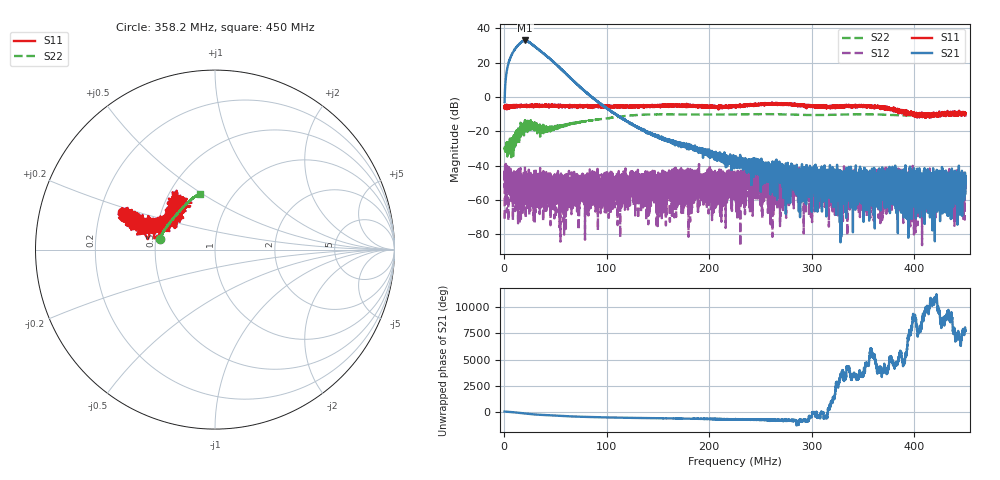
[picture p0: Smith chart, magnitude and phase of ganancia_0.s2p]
# Hz S DB R 50
! CMT, M5065, 19127446, 24.2.4/2
! Date: 12/3/2024 4:14:07 PM
! Data: Format (Calibration Info)
! Freq	S11:dB/Ang(F2)	S21:dB/Ang(F2)	S12:dB/Ang(F2)	S22:dB/Ang(F2)
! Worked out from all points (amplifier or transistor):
!   9000 points, 300 kHz to 450 MHz, reference 50 ohm
!   highest |S21| = 33.0 dB at 20.34 MHz (marker M1)
!   |S21| within 3 dB of that: 13.19 MHz to 28.53 MHz (15.33 MHz wide, 73.5 % of centre)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
!   unconditionally stable (mu >= 1): start of sweep to end of sweep
!   at 75.26 MHz: K = 64.03, MAG = 6.7 dB, |S12| = -50.5 dB
!   at 225.2 MHz: K = 20208.63, MAG = -37.2 dB, |S12| = -56.7 dB
!   at 450 MHz: K = 33177.52, MAG = -49.5 dB, |S12| = -47.8 dB
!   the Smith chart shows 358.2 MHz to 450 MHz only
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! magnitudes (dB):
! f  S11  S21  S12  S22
! 300 kHz  -6.2  -2.9  -71.1  -30.1
! 2.599 MHz  -6.2  15.9  -50.3  -30.5
! 6.297 MHz  -5.0  23.4  -51.0  -29.7
! 20.34 MHz  -5.2  33.0  -44.7  -13.7
! 40.68 MHz  -4.4  24.2  -56.1  -18.5
! 75.26 MHz  -5.5  5.1  -50.5  -14.5
! 112.8 MHz  -5.9  -11.6  -53.0  -11.4
! 136.2 MHz  -5.2  -19.5  -48.4  -10.3
! 150.2 MHz  -4.8  -23.4  -44.1  -10.1
! 171.4 MHz  -5.0  -28.1  -46.1  -10.2
! 177.5 MHz  -5.5  -28.7  -51.4  -10.2
! 225.2 MHz  -6.0  -38.9  -56.7  -10.2
! 245.3 MHz  -4.6  -38.2  -50.2  -10.0
! 300.1 MHz  -5.4  -46.4  -50.1  -10.5
! 328.1 MHz  -5.8  -84.8  -43.2  -10.3
! 337.4 MHz  -5.3  -52.5  -49.1  -10.2
! 375.1 MHz  -7.1  -45.3  -51.2  -10.4
! 392.5 MHz  -8.3  -52.6  -49.8  -10.7
! 398.5 MHz  -9.8  -46.6  -70.9  -10.8
! 413 MHz  -10.2  -57.0  -50.3  -10.6
! 434.2 MHz  -9.3  -55.6  -51.8  -10.1
! 450 MHz  -10.7  -50.4  -47.8  -9.9
